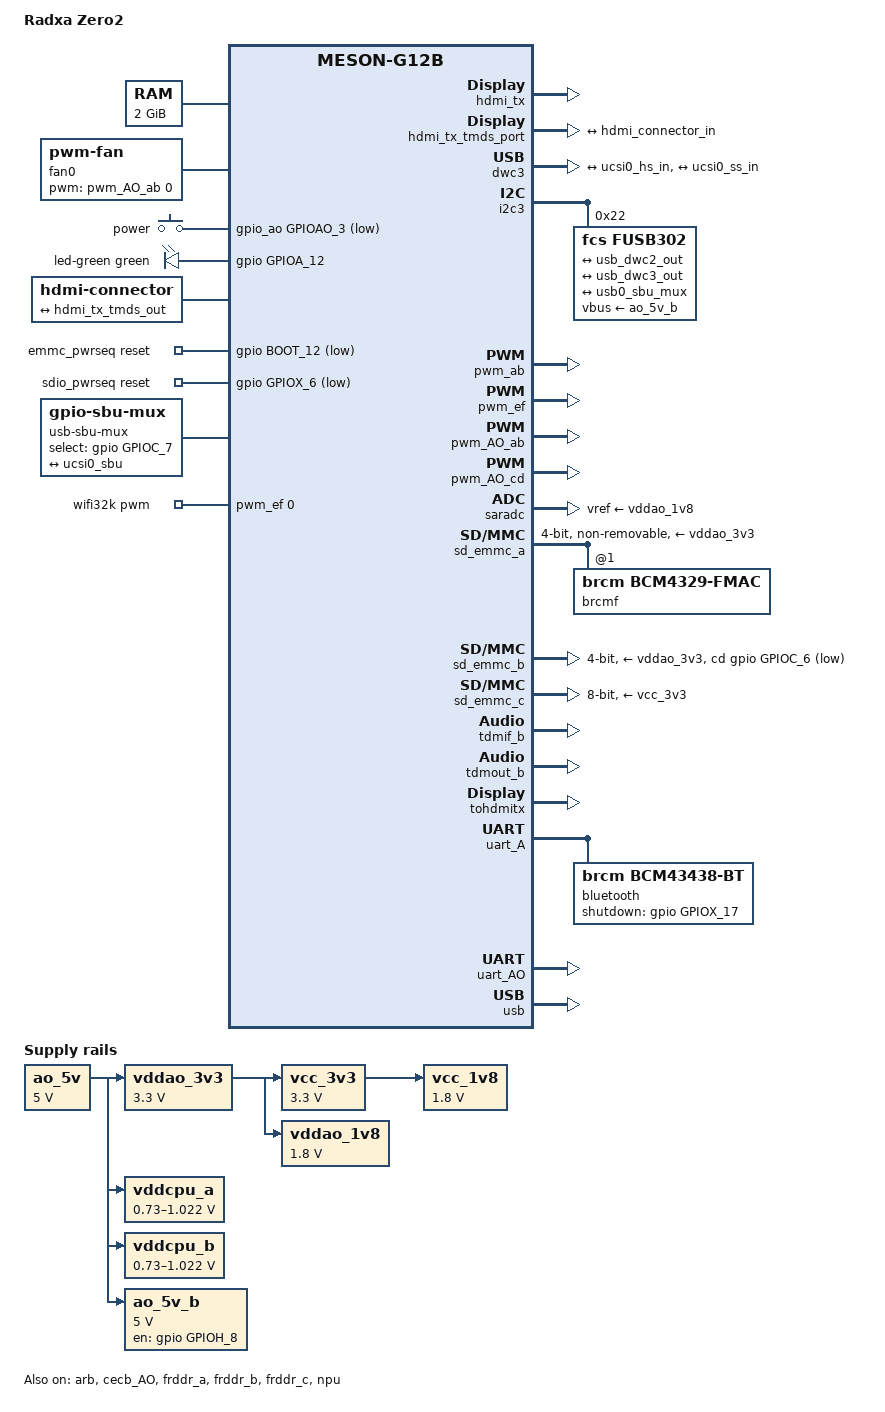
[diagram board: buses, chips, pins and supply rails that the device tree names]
// SPDX-License-Identifier: (GPL-2.0+ OR MIT)
/*
 * Copyright (c) 2019 BayLibre, SAS
 * Author: Neil Armstrong <narmstrong@baylibre.com>
 * Copyright (c) 2019 Christian Hewitt <christianshewitt@gmail.com>
 * Copyright (c) 2022 Radxa Limited
 * Author: Yuntian Zhang <yt@radxa.com>
 */

/dts-v1/;

#include "meson-g12b-a311d.dtsi"
#include <dt-bindings/input/input.h>
#include <dt-bindings/leds/common.h>
#include <dt-bindings/gpio/meson-g12a-gpio.h>
#include <dt-bindings/sound/meson-g12a-tohdmitx.h>
#include <dt-bindings/usb/pd.h>

/ {
	compatible = "radxa,zero2", "amlogic,a311d", "amlogic,g12b";
	model = "Radxa Zero2";

	aliases {
		serial0 = &uart_AO;
		serial2 = &uart_A;
	};

	chosen {
		stdout-path = "serial0:115200n8";
	};

	memory@0 {
		device_type = "memory";
		reg = <0x0 0x0 0x0 0x80000000>;
	};

	fan0: pwm-fan {
		compatible = "pwm-fan";
		#cooling-cells = <2>;
		cooling-levels = <0 64 128 192 255>;
		pwms = <&pwm_AO_ab 0 40000 0>;
	};

	gpio-keys-polled {
		compatible = "gpio-keys-polled";
		poll-interval = <100>;
		power-button {
			label = "power";
			linux,code = <KEY_POWER>;
			gpios = <&gpio_ao GPIOAO_3 (GPIO_ACTIVE_LOW | GPIO_PULL_UP)>;
		};
	};

	leds {
		compatible = "gpio-leds";

		led-green {
			color = <LED_COLOR_ID_GREEN>;
			function = LED_FUNCTION_STATUS;
			gpios = <&gpio GPIOA_12 GPIO_ACTIVE_HIGH>;
			linux,default-trigger = "heartbeat";
		};
	};

	hdmi-connector {
		compatible = "hdmi-connector";
		type = "a";

		port {
			hdmi_connector_in: endpoint {
				remote-endpoint = <&hdmi_tx_tmds_out>;
			};
		};
	};

	emmc_pwrseq: emmc-pwrseq {
		compatible = "mmc-pwrseq-emmc";
		reset-gpios = <&gpio BOOT_12 GPIO_ACTIVE_LOW>;
	};

	sdio_pwrseq: sdio-pwrseq {
		compatible = "mmc-pwrseq-simple";
		reset-gpios = <&gpio GPIOX_6 GPIO_ACTIVE_LOW>;
		clocks = <&wifi32k>;
		clock-names = "ext_clock";
	};

	ao_5v: regulator-ao-5v {
		compatible = "regulator-fixed";
		regulator-name = "AO_5V";
		regulator-min-microvolt = <5000000>;
		regulator-max-microvolt = <5000000>;
		regulator-always-on;
	};

	vcc_1v8: regulator-vcc-1v8 {
		compatible = "regulator-fixed";
		regulator-name = "VCC_1V8";
		regulator-min-microvolt = <1800000>;
		regulator-max-microvolt = <1800000>;
		vin-supply = <&vcc_3v3>;
		regulator-always-on;
	};

	vcc_3v3: regulator-vcc-3v3 {
		compatible = "regulator-fixed";
		regulator-name = "VCC_3V3";
		regulator-min-microvolt = <3300000>;
		regulator-max-microvolt = <3300000>;
		vin-supply = <&vddao_3v3>;
		regulator-always-on;
		/* FIXME: actually controlled by VDDCPU_B_EN */
	};

	vddao_1v8: regulator-vddao-1v8 {
		compatible = "regulator-fixed";
		regulator-name = "VDDIO_AO1V8";
		regulator-min-microvolt = <1800000>;
		regulator-max-microvolt = <1800000>;
		vin-supply = <&vddao_3v3>;
		regulator-always-on;
	};

	vddao_3v3: regulator-vddao-3v3 {
		compatible = "regulator-fixed";
		regulator-name = "VDDAO_3V3";
		regulator-min-microvolt = <3300000>;
		regulator-max-microvolt = <3300000>;
		vin-supply = <&ao_5v>;
		regulator-always-on;
	};

	vddcpu_a: regulator-vddcpu-a {
		/*
		 * MP8756GD Regulator.
		 */
		compatible = "pwm-regulator";

		regulator-name = "VDDCPU_A";
		regulator-min-microvolt = <730000>;
		regulator-max-microvolt = <1022000>;

		pwm-supply = <&ao_5v>;

		pwms = <&pwm_ab 0 1250 0>;
		pwm-dutycycle-range = <100 0>;

		regulator-boot-on;
		regulator-always-on;
	};

	vddcpu_b: regulator-vddcpu-b {
		/*
		 * Silergy SY8120B1ABC Regulator.
		 */
		compatible = "pwm-regulator";

		regulator-name = "VDDCPU_B";
		regulator-min-microvolt = <730000>;
		regulator-max-microvolt = <1022000>;

		pwm-supply = <&ao_5v>;

		pwms = <&pwm_AO_cd 1 1250 0>;
		pwm-dutycycle-range = <100 0>;

		regulator-boot-on;
		regulator-always-on;
	};

	ao_5v_b: regulator-ao-5v-b {
		compatible = "regulator-fixed";
		regulator-name = "AO_5V_B";
		regulator-min-microvolt = <5000000>;
		regulator-max-microvolt = <5000000>;
		pinctrl-0 = <&typec_vbus_en>;
		pinctrl-names = "default";
		vin-supply = <&ao_5v>;

		gpio = <&gpio GPIOH_8 (GPIO_ACTIVE_HIGH | GPIO_OPEN_DRAIN)>;
		enable-active-high;
	};

	sound {
		compatible = "amlogic,axg-sound-card";
		model = "RADXA-ZERO2";
		audio-aux-devs = <&tdmout_b>;
		audio-routing = "TDMOUT_B IN 0", "FRDDR_A OUT 1",
				"TDMOUT_B IN 1", "FRDDR_B OUT 1",
				"TDMOUT_B IN 2", "FRDDR_C OUT 1",
				"TDM_B Playback", "TDMOUT_B OUT";

		clocks = <&clkc CLKID_MPLL2>,
			 <&clkc CLKID_MPLL0>,
			 <&clkc CLKID_MPLL1>;

		assigned-clocks = <&clkc CLKID_MPLL2>,
				  <&clkc CLKID_MPLL0>,
				  <&clkc CLKID_MPLL1>;
		assigned-clock-rates = <294912000>,
				       <270950400>,
				       <393216000>;

		dai-link-0 {
			sound-dai = <&frddr_a>;
		};

		dai-link-1 {
			sound-dai = <&frddr_b>;
		};

		dai-link-2 {
			sound-dai = <&frddr_c>;
		};

		/* 8ch hdmi interface */
		dai-link-3 {
			sound-dai = <&tdmif_b>;
			dai-format = "i2s";
			dai-tdm-slot-tx-mask-0 = <1 1>;
			dai-tdm-slot-tx-mask-1 = <1 1>;
			dai-tdm-slot-tx-mask-2 = <1 1>;
			dai-tdm-slot-tx-mask-3 = <1 1>;
			mclk-fs = <256>;

			codec {
				sound-dai = <&tohdmitx TOHDMITX_I2S_IN_B>;
			};
		};

		/* hdmi glue */
		dai-link-4 {
			sound-dai = <&tohdmitx TOHDMITX_I2S_OUT>;

			codec {
				sound-dai = <&hdmi_tx>;
			};
		};
	};

	usb-sbu-mux {
		compatible = "gpio-sbu-mux";
		select-gpios = <&gpio GPIOC_7 (GPIO_ACTIVE_HIGH | GPIO_OPEN_DRAIN)>;
		pinctrl-0 = <&usb_sbu_default>;
		pinctrl-names = "default";
		orientation-switch;

		port {
			usb0_sbu_mux: endpoint {
				remote-endpoint = <&ucsi0_sbu>;
			};
		};
	};

	wifi32k: clock-0 {
		compatible = "pwm-clock";
		#clock-cells = <0>;
		clock-frequency = <32768>;
		pwms = <&pwm_ef 0 30518 0>; /* PWM_E at 32.768KHz */
	};
};

&arb {
	status = "okay";
};

&cec_AO {
	pinctrl-0 = <&cec_ao_a_h_pins>;
	pinctrl-names = "default";
	status = "disabled";
	hdmi-phandle = <&hdmi_tx>;
};

&cecb_AO {
	pinctrl-0 = <&cec_ao_b_h_pins>;
	pinctrl-names = "default";
	status = "okay";
	hdmi-phandle = <&hdmi_tx>;
};

&clkc_audio {
	status = "okay";
};

&cpu0 {
	cpu-supply = <&vddcpu_b>;
};

&cpu1 {
	cpu-supply = <&vddcpu_b>;
};

&cpu100 {
	cpu-supply = <&vddcpu_a>;
};

&cpu101 {
	cpu-supply = <&vddcpu_a>;
};

&cpu102 {
	cpu-supply = <&vddcpu_a>;
};

&cpu103 {
	cpu-supply = <&vddcpu_a>;
};

&cpu_thermal {
	trips {
		cpu_active: cpu-active {
			temperature = <70000>; /* millicelsius */
			hysteresis = <2000>; /* millicelsius */
			type = "active";
		};
	};

	cooling-maps {
		map2 {
			trip = <&cpu_active>;
			cooling-device = <&fan0 THERMAL_NO_LIMIT THERMAL_NO_LIMIT>;
		};
	};
};

&frddr_a {
	status = "okay";
};

&frddr_b {
	status = "okay";
};

&frddr_c {
	status = "okay";
};

&gpio {
	gpio-line-names =
		/* GPIOZ */
		"PIN_27", "PIN_28", "PIN_7", "PIN_11", "PIN_13", "PIN_15", "PIN_18", "PIN_40",
		"", "", "", "", "", "", "", "",
		/* GPIOH */
		"", "", "", "", "PIN_19", "PIN_21", "PIN_24", "PIN_23",
		"",
		/* BOOT */
		"", "", "", "", "", "", "", "",
		"", "", "", "", "EMMC_PWRSEQ", "", "", "",
		/* GPIOC */
		"", "", "", "", "", "", "SD_CD", "PIN_36",
		/* GPIOA */
		"PIN_32", "PIN_12", "PIN_35", "", "", "PIN_38", "", "",
		"", "", "", "", "LED_GREEN", "PIN_31", "PIN_3", "PIN_5",
		/* GPIOX */
		"", "", "", "", "", "", "SDIO_PWRSEQ", "",
		"", "", "", "", "", "", "", "",
		"", "BT_SHUTDOWN", "", "";
};

&gpio_ao {
	gpio-line-names =
		/* GPIOAO */
		"PIN_8", "PIN_10", "", "BTN_POWER", "", "", "", "PIN_29",
		"PIN_33", "PIN_37", "FAN", "",
		/* GPIOE */
		"", "", "";
};

&hdmi_tx {
	status = "okay";
	pinctrl-0 = <&hdmitx_hpd_pins>, <&hdmitx_ddc_pins>;
	pinctrl-names = "default";
	hdmi-supply = <&ao_5v>;
};

&hdmi_tx_tmds_port {
	hdmi_tx_tmds_out: endpoint {
		remote-endpoint = <&hdmi_connector_in>;
	};
};

&dwc3 {
	port {
		usb_dwc2_out: endpoint@0 {
			remote-endpoint = <&ucsi0_hs_in>;
		};

		usb_dwc3_out: endpoint@1 {
			remote-endpoint = <&ucsi0_ss_in>;
		};
	};
};

&i2c3 {
	#address-cells = <1>;
	#size-cells = <0>;
	pinctrl-0 = <&i2c3_sda_a_pins>, <&i2c3_sck_a_pins>;
	pinctrl-names = "default";
	status = "okay";

	fusb302@22 {
		compatible = "fcs,fusb302";
		reg = <0x22>;

		pinctrl-0 = <&fusb302_irq_pins>;
		pinctrl-names = "default";
		interrupt-parent = <&gpio_intc>;
		interrupts = <IRQID_GPIOA_13 IRQ_TYPE_LEVEL_LOW>;

		vbus-supply = <&ao_5v_b>;

		status = "okay";

		usb_con: connector {
			compatible = "usb-c-connector";
			label = "USB-C";
			data-role = "host";
			/* fusb302 supports PD Rev 2.0 Ver 1.2 */
			pd-revision = /bits/ 8 <0x2 0x0 0x1 0x2>;
			power-role = "source";
			source-pdos = <PDO_FIXED(5000, 1500, PDO_FIXED_USB_COMM)>;

			ports {
				#address-cells = <1>;
				#size-cells = <0>;

				port@0 {
					reg = <0>;

					ucsi0_hs_in: endpoint {
						remote-endpoint = <&usb_dwc2_out>;
					};
				};

				port@1 {
					reg = <1>;

					ucsi0_ss_in: endpoint {
						remote-endpoint = <&usb_dwc3_out>;
					};
				};

				port@2 {
					reg = <2>;

					ucsi0_sbu: endpoint {
						remote-endpoint = <&usb0_sbu_mux>;
					};
				};
			};
		};
	};
};

&ir {
	status = "disabled";
	pinctrl-0 = <&remote_input_ao_pins>;
	pinctrl-names = "default";
};

&pwm_ab {
	pinctrl-0 = <&pwm_a_e_pins>;
	pinctrl-names = "default";
	status = "okay";
};

&pwm_ef {
	pinctrl-0 = <&pwm_e_pins>;
	pinctrl-names = "default";
	status = "okay";
};

&pwm_AO_ab {
	pinctrl-0 = <&pwm_ao_a_pins>;
	pinctrl-names = "default";
	status = "okay";
};

&pwm_AO_cd {
	pinctrl-0 = <&pwm_ao_d_e_pins>;
	pinctrl-names = "default";
	status = "okay";
};

&npu {
	status = "okay";
};

&saradc {
	status = "okay";
	vref-supply = <&vddao_1v8>;
};

/* SDIO */
&sd_emmc_a {
	status = "okay";
	pinctrl-0 = <&sdio_pins>;
	pinctrl-1 = <&sdio_clk_gate_pins>;
	pinctrl-names = "default", "clk-gate";
	#address-cells = <1>;
	#size-cells = <0>;

	bus-width = <4>;
	cap-sd-highspeed;
	max-frequency = <100000000>;

	non-removable;
	disable-wp;

	/* WiFi firmware requires power to be kept while in suspend */
	keep-power-in-suspend;

	mmc-pwrseq = <&sdio_pwrseq>;

	vmmc-supply = <&vddao_3v3>;
	vqmmc-supply = <&vddao_1v8>;

	brcmf: wifi@1 {
		reg = <1>;
		compatible = "brcm,bcm4329-fmac";
	};
};

/* SD card */
&sd_emmc_b {
	status = "okay";
	pinctrl-0 = <&sdcard_c_pins>;
	pinctrl-1 = <&sdcard_clk_gate_c_pins>;
	pinctrl-names = "default", "clk-gate";

	bus-width = <4>;
	cap-sd-highspeed;
	max-frequency = <50000000>;
	disable-wp;

	cd-gpios = <&gpio GPIOC_6 GPIO_ACTIVE_LOW>;
	vmmc-supply = <&vddao_3v3>;
	vqmmc-supply = <&vddao_3v3>;
};

/* eMMC */
&sd_emmc_c {
	status = "okay";
	pinctrl-0 = <&emmc_ctrl_pins>, <&emmc_data_8b_pins>, <&emmc_ds_pins>;
	pinctrl-1 = <&emmc_clk_gate_pins>;
	pinctrl-names = "default", "clk-gate";

	bus-width = <8>;
	cap-mmc-highspeed;
	mmc-ddr-1_8v;
	mmc-hs200-1_8v;
	max-frequency = <200000000>;
	disable-wp;

	mmc-pwrseq = <&emmc_pwrseq>;
	vmmc-supply = <&vcc_3v3>;
	vqmmc-supply = <&vcc_1v8>;
};

&tdmif_b {
	status = "okay";
};

&tdmout_b {
	status = "okay";
};

&tohdmitx {
	status = "okay";
};

&uart_A {
	status = "okay";
	pinctrl-0 = <&uart_a_pins>, <&uart_a_cts_rts_pins>;
	pinctrl-names = "default";
	uart-has-rtscts;

	bluetooth {
		compatible = "brcm,bcm43438-bt";
		shutdown-gpios = <&gpio GPIOX_17 GPIO_ACTIVE_HIGH>;
		max-speed = <2000000>;
		clocks = <&wifi32k>;
		clock-names = "lpo";
	};
};

&uart_AO {
	status = "okay";
	pinctrl-0 = <&uart_ao_a_pins>;
	pinctrl-names = "default";
};

&usb {
	status = "okay";
};

&periphs_pinctrl {
	/*
	 * Make sure the irq pin of the TYPE C controller is not driven
	 * by the SoC.
	 */
	fusb302_irq_pins: fusb302_irq {
		mux {
			groups = "GPIOA_13";
			function = "gpio_periphs";
			bias-pull-up;
			output-disable;
		};
	};

	usb_sbu_default: usb0-sbu-state {
		mux {
			groups = "GPIOC_7";
			function = "gpio_periphs";
			bias-disable;
		};
	};

	typec_vbus_en: typec-vbus-en {
		mux {
			groups = "GPIOH_8";
			function = "gpio_periphs";
			bias-disable;
		};
	};
};
